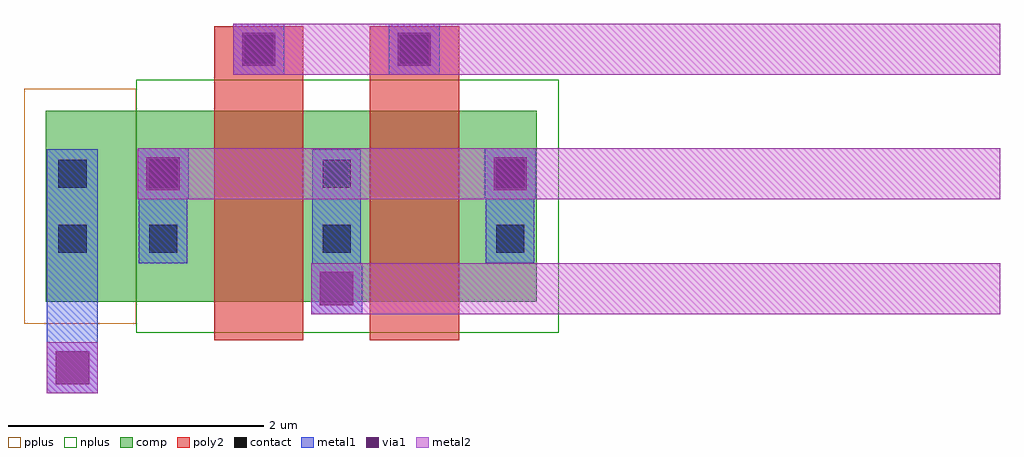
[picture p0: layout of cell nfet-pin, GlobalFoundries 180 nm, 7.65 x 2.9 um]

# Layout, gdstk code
from math import pi, radians
import gdstk
lib = gdstk.Library(unit=1e-6, precision=1e-09)
def R(c, l, rs):  # rectangles x0, y0, x1, y1
    for r in rs: c.add(gdstk.rectangle(r[:2], r[2:], *l))
def A(c, l, x, y, w, h, nx, ny, dx, dy):  # array of equal rectangles
    R(c, l, [(x+i*dx, y+j*dy, x+i*dx+w, y+j*dy+h) for i in range(nx) for j in range(ny)])
comp = (22, 0)
poly2 = (30, 0)
pplus = (31, 0)
nplus = (32, 0)
contact = (33, 0)
metal1 = (34, 0)
via1 = (35, 0)
metal2 = (36, 0)

nfet = lib.new_cell('nfet')
R(nfet, comp, [(-0.42,0,0,1.5), (0,0,2.3,1.5), (2.3,0,2.72,1.5), (2.72,0,3.43,1.5)])
R(nfet, poly2, [(0.19,-0.3,0.89,1.8), (1.41,-0.3,2.11,1.8), (0.19,1.8,0.89,2.16), (1.41,1.8,2.11,2.16)])
R(nfet, pplus, [(2.72,-0.17,3.6,1.67)])
R(nfet, nplus, [(-0.59,-0.24,2.72,1.74)])
A(nfet, contact, -0.32, 0.385, 0.22, 0.22, 3, 2, 1.36, 0.51)
R(nfet, contact, [(3.11,0.385,3.33,0.605), (3.11,0.895,3.33,1.115), (0.43,1.87,0.65,2.09), (1.65,1.87,1.87,2.09)])
A(nfet, metal1, -0.4, 0.305, 0.38, 0.89, 3, 1, 1.36, 0)
R(nfet, metal1, [(3.03,0.305,3.41,1.195), (0.35,1.789,0.73,2.171), (1.57,1.789,1.95,2.171)])

via_dev = lib.new_cell('via_dev')
R(via_dev, metal1, [(0,0,0.4,0.4)])
R(via_dev, via1, [(0.07,0.07,0.33,0.33)])
R(via_dev, metal2, [(0,0,0.4,0.4)])

nfet_pin = lib.new_cell('nfet-pin')
nfet_pin.add(gdstk.FlexPath([(0.745,0.655),(0.745,0.61)], 0.4, ends=(0, 1.865), simple_path=True, layer=34, datatype=0))  # metal1
nfet_pin.add(gdstk.FlexPath([(2.005,1.44),(2.015,1.44),(2.015,1.44)], 0.4, ends=(0, 6), simple_path=True, layer=36, datatype=0))  # metal2
nfet_pin.add(gdstk.FlexPath([(1.255,0.465),(1.265,0.465),(1.265,0.465)], 0.4, ends=(0, 6.75), simple_path=True, layer=36, datatype=0))  # metal2
nfet_pin.add(gdstk.FlexPath([(2.615,-0.435),(2.695,-0.435)], 0.4, ends=(0, 5.32), simple_path=True, layer=36, datatype=0))  # metal2
nfet_pin.add(gdstk.Reference(nfet, (3.965,-0.54), rotation=pi, x_reflection=True))
nfet_pin.add(gdstk.Reference(via_dev, (0.545,-1.255)))
nfet_pin.add(gdstk.Reference(via_dev, (1.255,0.265)))
nfet_pin.add(gdstk.Reference(via_dev, (3.975,0.265)))
nfet_pin.add(gdstk.Reference(via_dev, (2.615,-0.635)))
nfet_pin.add(gdstk.Reference(via_dev, (2.005,1.24)))
nfet_pin.add(gdstk.Reference(via_dev, (3.225,1.24)))

lib.write_gds('nfet-pin.gds')
